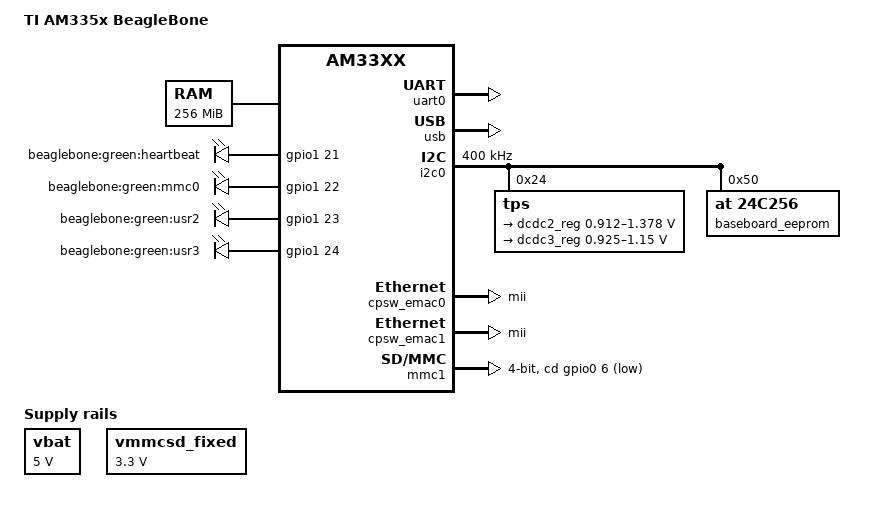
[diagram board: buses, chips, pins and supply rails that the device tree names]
/*
 * Copyright (C) 2012 Texas Instruments Incorporated - http://www.ti.com/
 *
 * This program is free software; you can redistribute it and/or modify
 * it under the terms of the GNU General Public License version 2 as
 * published by the Free Software Foundation.
 */

/ {
	model = "TI AM335x BeagleBone";
	compatible = "ti,am335x-bone", "ti,am33xx";

	cpus {
		cpu@0 {
			cpu0-supply = <&dcdc2_reg>;
		};
	};

	memory {
		device_type = "memory";
		reg = <0x80000000 0x10000000>; /* 256 MB */
	};

	leds {
		pinctrl-names = "default", "sleep";
		pinctrl-0 = <&user_leds_default>;
		pinctrl-1 = <&user_leds_sleep>;

		compatible = "gpio-leds";

		led@2 {
			label = "beaglebone:green:heartbeat";
			gpios = <&gpio1 21 GPIO_ACTIVE_HIGH>;
			linux,default-trigger = "heartbeat";
			default-state = "off";
		};

		led@3 {
			label = "beaglebone:green:mmc0";
			gpios = <&gpio1 22 GPIO_ACTIVE_HIGH>;
			linux,default-trigger = "mmc0";
			default-state = "off";
		};

		led@4 {
			label = "beaglebone:green:usr2";
			gpios = <&gpio1 23 GPIO_ACTIVE_HIGH>;
			linux,default-trigger = "cpu0";
			default-state = "off";
		};

		led@5 {
			label = "beaglebone:green:usr3";
			gpios = <&gpio1 24 GPIO_ACTIVE_HIGH>;
			linux,default-trigger = "mmc1";
			default-state = "off";
		};
	};

	vbat: fixedregulator@0 {
		compatible = "regulator-fixed";
		regulator-name = "vbat";
		regulator-min-microvolt = <5000000>;
		regulator-max-microvolt = <5000000>;
		regulator-boot-on;
	};

	vmmcsd_fixed: fixedregulator@1 {
		compatible = "regulator-fixed";
		regulator-name = "vmmcsd_fixed";
		regulator-min-microvolt = <3300000>;
		regulator-max-microvolt = <3300000>;
	};
};

&uart0 {
	pinctrl-names = "default";
	pinctrl-0 = <&uart0_pins>;

	status = "okay";
};

&usb {
	status = "okay";

	control@44e10620 {
		status = "okay";
	};

	usb-phy@47401300 {
		status = "okay";
	};

	usb-phy@47401b00 {
		status = "okay";
	};

	usb@47401000 {
		status = "okay";
	};

	usb@47401800 {
		status = "okay";
		dr_mode = "host";
	};

	dma-controller@47402000  {
		status = "okay";
	};
};

&i2c0 {
	pinctrl-names = "default";
	pinctrl-0 = <&i2c0_pins>;

	status = "okay";
	clock-frequency = <400000>;

	tps: tps@24 {
		reg = <0x24>;
	};

	baseboard_eeprom: baseboard_eeprom@50 {
		compatible = "at,24c256";
		reg = <0x50>;
	};
};

/include/ "tps65217.dtsi"

&tps {
	ti,pmic-shutdown-controller;

	regulators {
		dcdc1_reg: regulator@0 {
			regulator-always-on;
		};

		dcdc2_reg: regulator@1 {
			/* VDD_MPU voltage limits 0.95V - 1.325V with +/-4% tolerance */
			regulator-name = "vdd_mpu";
			regulator-min-microvolt = <912500>;
			regulator-max-microvolt = <1378000>;
			regulator-boot-on;
			regulator-always-on;
		};

		dcdc3_reg: regulator@2 {
			/* VDD_CORE voltage limits 0.95V - 1.1V with +/-4% tolerance */
			regulator-name = "vdd_core";
			regulator-min-microvolt = <925000>;
			regulator-max-microvolt = <1150000>;
			regulator-boot-on;
			regulator-always-on;
		};

		ldo1_reg: regulator@3 {
			regulator-always-on;
		};

		ldo2_reg: regulator@4 {
			regulator-always-on;
		};

		ldo3_reg: regulator@5 {
			regulator-always-on;
		};

		ldo4_reg: regulator@6 {
			regulator-always-on;
		};

		rtc@44e3e000 {
			ti,system-power-controller;
		};
	};
};

&cpsw_emac0 {
	phy_id = <&davinci_mdio>, <0>;
	phy-mode = "mii";
};

&cpsw_emac1 {
	phy_id = <&davinci_mdio>, <1>;
	phy-mode = "mii";
};

&mac {
	pinctrl-names = "default", "sleep";
	pinctrl-0 = <&cpsw_default>;
	pinctrl-1 = <&cpsw_sleep>;

};

&davinci_mdio {
	pinctrl-names = "default", "sleep";
	pinctrl-0 = <&davinci_mdio_default>;
	pinctrl-1 = <&davinci_mdio_sleep>;
};

&mmc1 {
	status = "okay";
	bus-width = <0x4>;
	pinctrl-names = "default", "sleep";
	pinctrl-0 = <&mmc1_pins_default>;
	pinctrl-1 = <&mmc1_pins_sleep>;
	cd-gpios = <&gpio0 6 GPIO_ACTIVE_HIGH>;
	cd-inverted;
};

&wkup_m3 {
	ti,scale-data-fw = "am335x-bone-scale-data.bin";
};
